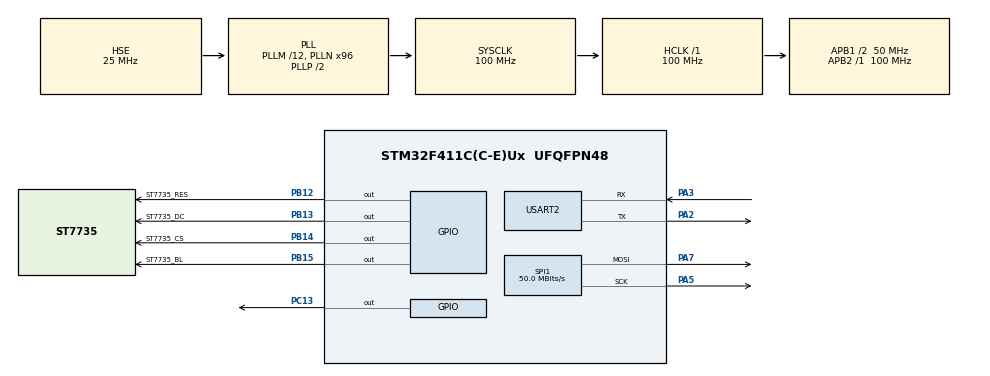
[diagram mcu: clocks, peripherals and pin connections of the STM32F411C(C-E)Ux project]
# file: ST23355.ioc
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Mcu.Family=STM32F4
Mcu.Name=STM32F411C(C-E)Ux
Mcu.Package=UFQFPN48
NVIC.PriorityGroup=NVIC_PRIORITYGROUP_4
PA13.Mode=Serial_Wire
PA13.Signal=SYS_JTMS-SWDIO
PA14.Mode=Serial_Wire
PA14.Signal=SYS_JTCK-SWCLK
PA2.Mode=Asynchronous
PA2.Signal=USART2_TX
PA3.Mode=Asynchronous
PA3.Signal=USART2_RX
PA5.Mode=TX_Only_Simplex_Unidirect_Master
PA5.Signal=SPI1_SCK
PA7.Mode=TX_Only_Simplex_Unidirect_Master
PA7.Signal=SPI1_MOSI
PB12.GPIO_Label=ST7735_RES
PB12.GPIO_ModeDefaultOutputPP=GPIO_MODE_OUTPUT_PP
PB12.GPIO_PuPd=GPIO_PULLDOWN
PB12.GPIO_Speed=GPIO_SPEED_FREQ_LOW
PB12.PinState=GPIO_PIN_RESET
PB12.Signal=GPIO_Output
PB13.GPIO_Label=ST7735_DC
PB13.GPIO_ModeDefaultOutputPP=GPIO_MODE_OUTPUT_PP
PB13.GPIO_PuPd=GPIO_PULLDOWN
PB13.GPIO_Speed=GPIO_SPEED_FREQ_LOW
PB13.PinState=GPIO_PIN_RESET
PB13.Signal=GPIO_Output
PB14.GPIO_Label=ST7735_CS
PB14.GPIO_ModeDefaultOutputPP=GPIO_MODE_OUTPUT_PP
PB14.GPIO_PuPd=GPIO_PULLDOWN
PB14.GPIO_Speed=GPIO_SPEED_FREQ_LOW
PB14.PinState=GPIO_PIN_RESET
PB14.Signal=GPIO_Output
PB15.GPIO_Label=ST7735_BL
PB15.GPIO_ModeDefaultOutputPP=GPIO_MODE_OUTPUT_PP
PB15.GPIO_PuPd=GPIO_PULLDOWN
PB15.GPIO_Speed=GPIO_SPEED_FREQ_LOW
PB15.PinState=GPIO_PIN_RESET
PB15.Signal=GPIO_Output
PC13-ANTI_TAMP.GPIO_ModeDefaultOutputPP=GPIO_MODE_OUTPUT_PP
PC13-ANTI_TAMP.GPIO_PuPd=GPIO_PULLDOWN
PC13-ANTI_TAMP.GPIO_Speed=GPIO_SPEED_FREQ_LOW
PC13-ANTI_TAMP.PinState=GPIO_PIN_RESET
PC13-ANTI_TAMP.Signal=GPIO_Output
PC14-OSC32_IN.Mode=LSE-External-Oscillator
PC14-OSC32_IN.Signal=RCC_OSC32_IN
PC15-OSC32_OUT.Mode=LSE-External-Oscillator
PC15-OSC32_OUT.Signal=RCC_OSC32_OUT
PH0\ -\ OSC_IN.Mode=HSE-External-Oscillator
PH0\ -\ OSC_IN.Signal=RCC_OSC_IN
PH1\ -\ OSC_OUT.Mode=HSE-External-Oscillator
PH1\ -\ OSC_OUT.Signal=RCC_OSC_OUT
ProjectManager.HeapSize=0x200
ProjectManager.StackSize=0x400
ProjectManager.TargetToolchain=CMake
RCC.48MHZClocksFreq_Value=50000000
RCC.AHBFreq_Value=100000000
RCC.APB1CLKDivider=RCC_HCLK_DIV2
RCC.APB1Freq_Value=50000000
RCC.APB1TimFreq_Value=100000000
RCC.APB2Freq_Value=100000000
RCC.APB2TimFreq_Value=100000000
RCC.CortexFreq_Value=100000000
RCC.HCLKFreq_Value=100000000
RCC.HSE_VALUE=25000000
RCC.HSI_VALUE=16000000
RCC.PLLM=12
RCC.PLLN=96
RCC.PLLSourceVirtual=RCC_PLLSOURCE_HSE
RCC.SYSCLKFreq_VALUE=100000000
RCC.SYSCLKSource=RCC_SYSCLKSOURCE_PLLCLK
RCC.VCOOutputFreq_Value=200000000
SPI1.BaudRatePrescaler=SPI_BAUDRATEPRESCALER_2
SPI1.CalculateBaudRate=50.0 MBits/s
SPI1.DataSize=SPI_DATASIZE_8BIT
SPI1.Direction=SPI_DIRECTION_2LINES
SPI1.Mode=SPI_MODE_MASTER
SPI1.VirtualType=VM_MASTER
STMicroelectronics.X-CUBE-TOUCHGFX.4.25.0.tgfx_buffering_strategy=Partial
STMicroelectronics.X-CUBE-TOUCHGFX.4.25.0.tgfx_custom_height=160
STMicroelectronics.X-CUBE-TOUCHGFX.4.25.0.tgfx_custom_width=128
STMicroelectronics.X-CUBE-TOUCHGFX.4.25.0_IsPackSelfContextualization=true
USART2.VirtualMode=VM_ASYNC
VP_CRC_VS_CRC.Mode=CRC_Activate
VP_RTC_VS_RTC_Activate.Mode=RTC_Enabled
VP_RTC_VS_RTC_WakeUp_intern.Mode=WakeUp
board=custom

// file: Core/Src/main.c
/* USER CODE BEGIN Header */
/**
  ******************************************************************************
  * @file           : main.c
  * @brief          : Main program body
  ******************************************************************************
  * @attention
  *
  * Copyright (c) 2025 STMicroelectronics.
  * All rights reserved.
  *
  * This software is licensed under terms that can be found in the LICENSE file
  * in the root directory of this software component.
  * If no LICENSE file comes with this software, it is provided AS-IS.
  *
  ******************************************************************************
  */
/* USER CODE END Header */
#include "main.h"

/* USER CODE BEGIN Includes */
#include "st7735.h"
#include "fonts.h"
#include "testimg.h"
#include <stm32f4xx_hal_rcc.h>
#include <stm32f4xx_hal_uart.h>
#include <stdio.h>
/* USER CODE END Includes */

CRC_HandleTypeDef hcrc;

RTC_HandleTypeDef hrtc;

SPI_HandleTypeDef hspi1;

UART_HandleTypeDef huart2;

void SystemClock_Config(void);
static void MX_GPIO_Init(void);
static void MX_SPI1_Init(void);
static void MX_USART2_UART_Init(void);
static void MX_CRC_Init(void);
static void MX_RTC_Init(void);

/* USER CODE BEGIN 0 */
 void demoTFT(void)
{

 ST7735_FillScreen(ST7735_BLACK);

 for(int x = 0; x < ST7735_GetWidth(); x++)
 {
   ST7735_DrawPixel(x, 0, ST7735_WHITE);
   ST7735_DrawPixel(x, ST7735_GetHeight() - 1, ST7735_WHITE);
 }

 for(int y = 0; y < ST7735_GetHeight(); y++)
 {
   ST7735_DrawPixel(0, y, ST7735_WHITE);
   ST7735_DrawPixel(ST7735_GetWidth() - 1, y, ST7735_WHITE);
 }

 ST7735_DrawLine(0, 0, ST7735_GetWidth(), ST7735_GetHeight(), ST7735_WHITE);
 ST7735_DrawLine(ST7735_GetWidth(), 0, 0, ST7735_GetHeight(), ST7735_WHITE);

 HAL_Delay(1000);

 ST7735_FillScreen(ST7735_BLACK);

 for (int i = 0; i < ST7735_GetHeight(); i += 4)
 {
  ST7735_DrawFastHLine(0, i, ST7735_GetWidth() - 1, ST7735_WHITE);
 }

 for (int i = 0; i < ST7735_GetWidth(); i += 4)
 {
  ST7735_DrawFastVLine(i, 0, ST7735_GetHeight() - 1, ST7735_WHITE);
 }

 HAL_Delay(1000);

 // Check fonts
 ST7735_FillScreen(ST7735_BLACK);
 ST7735_DrawString(0, 0, "Font_7x10, red on black, lorem ipsum dolor sit amet", Font_7x10, ST7735_RED, ST7735_BLACK);
 ST7735_DrawString(0, 3*10, "Font_11x18, green, lorem ipsum", Font_11x18, ST7735_GREEN, ST7735_BLACK);
 ST7735_DrawString(0, 3*10+3*18, "Font_16x26", Font_16x26, ST7735_BLUE, ST7735_BLACK);
 HAL_Delay(1000);

 // Check colors
 ST7735_FillScreen(ST7735_BLACK);
 ST7735_DrawString(0, 0, "BLACK", Font_11x18, ST7735_WHITE, ST7735_BLACK);
 HAL_Delay(1000);

 ST7735_FillScreen(ST7735_BLUE);
 ST7735_DrawString(0, 0, "BLUE", Font_11x18, ST7735_BLACK, ST7735_BLUE);
 HAL_Delay(1000);

 ST7735_FillScreen(ST7735_RED);
 ST7735_DrawString(0, 0, "RED", Font_11x18, ST7735_BLACK, ST7735_RED);
 HAL_Delay(1000);

 ST7735_FillScreen(ST7735_GREEN);
 ST7735_DrawString(0, 0, "GREEN", Font_11x18, ST7735_BLACK, ST7735_GREEN);
 HAL_Delay(1000);

 ST7735_FillScreen(ST7735_CYAN);
 ST7735_DrawString(0, 0, "CYAN", Font_11x18, ST7735_BLACK, ST7735_CYAN);
 HAL_Delay(1000);

 ST7735_FillScreen(ST7735_MAGENTA);
 ST7735_DrawString(0, 0, "MAGENTA", Font_11x18, ST7735_BLACK, ST7735_MAGENTA);
 HAL_Delay(1000);

 ST7735_FillScreen(ST7735_YELLOW);
 ST7735_DrawString(0, 0, "YELLOW", Font_11x18, ST7735_BLACK, ST7735_YELLOW);
 HAL_Delay(1000);

 ST7735_FillScreen(ST7735_WHITE);
 ST7735_DrawString(0, 0, "WHITE", Font_11x18, ST7735_BLACK, ST7735_WHITE);
 HAL_Delay(1000);

 // Draw circles
 ST7735_FillScreen(ST7735_BLACK);
 for (int i = 0; i < ST7735_GetHeight() / 2; i += 2)
 {
  ST7735_DrawCircle(ST7735_GetWidth() / 2, ST7735_GetHeight() / 2, i, ST7735_YELLOW);
 }
 HAL_Delay(1000);

 ST7735_FillScreen(ST7735_BLACK);
 ST7735_FillTriangle(0, 0, ST7735_GetWidth() / 2, ST7735_GetHeight(), ST7735_GetWidth(), 0, ST7735_RED);
 HAL_Delay(1000);

 ST7735_FillScreen(ST7735_BLACK);
 ST7735_DrawImage(0, 0, 128, 128, (uint16_t*) test_img_128x128);
 HAL_Delay(1000);

}
/* USER CODE END 0 */

int main(void)
{

  /* MCU Configuration--------------------------------------------------------*/

  /* Reset of all peripherals, Initializes the Flash interface and the Systick. */
  HAL_Init();

  /* Configure the system clock */
  SystemClock_Config();

  /* Initialize all configured peripherals */
  MX_GPIO_Init();
  MX_SPI1_Init();
  MX_USART2_UART_Init();
  MX_CRC_Init();
  MX_RTC_Init();
  /* USER CODE BEGIN 2 */
  ST7735_Init();
  ST7735_Backlight_On();

  int value = 0;
  ST7735_FillScreen(ST7735_BLACK);
  ST7735_DrawString(1, 1, "RUNNING Program...", Font_7x10, ST7735_GREEN, ST7735_BLACK);
  uint8_t TX_data[] = "Hello World\n\r";
  uint8_t TX_buffer[] = "RUNNING: ";
  char buffer[50];

  /* USER CODE END 2 */

    /* Infinite loop */
    /* USER CODE BEGIN WHILE */
    while (1)
    {
      // demoTFT();
      sprintf(buffer, "RUNNING: %d", value);

      HAL_UART_Transmit (&huart2, TX_buffer, sizeof TX_buffer/sizeof TX_buffer[0], 0xffff);

      HAL_UART_Transmit (&huart2, TX_data, sizeof TX_data, 0xffff);

    ST7735_DrawString(1, 20, buffer, Font_7x10, ST7735_GREEN, ST7735_BLACK);

    HAL_GPIO_TogglePin(GPIOC, GPIO_PIN_13);
    HAL_Delay(1);
    HAL_GPIO_WritePin(GPIOC, GPIO_PIN_13, GPIO_PIN_SET);

    HAL_Delay(1000);
value++;
    /* USER CODE END WHILE */

  }
}

void SystemClock_Config(void)
{
  RCC_OscInitTypeDef RCC_OscInitStruct = {0};
  RCC_ClkInitTypeDef RCC_ClkInitStruct = {0};

  /** Configure the main internal regulator output voltage
  */
  __HAL_RCC_PWR_CLK_ENABLE();
  __HAL_PWR_VOLTAGESCALING_CONFIG(PWR_REGULATOR_VOLTAGE_SCALE1);

  /** Initializes the RCC Oscillators according to the specified parameters
  * in the RCC_OscInitTypeDef structure.
  */
  RCC_OscInitStruct.OscillatorType = RCC_OSCILLATORTYPE_LSI|RCC_OSCILLATORTYPE_HSE;
  RCC_OscInitStruct.HSEState = RCC_HSE_ON;
  RCC_OscInitStruct.LSIState = RCC_LSI_ON;
  RCC_OscInitStruct.PLL.PLLState = RCC_PLL_ON;
  RCC_OscInitStruct.PLL.PLLSource = RCC_PLLSOURCE_HSE;
  RCC_OscInitStruct.PLL.PLLM = 12;
  RCC_OscInitStruct.PLL.PLLN = 96;
  RCC_OscInitStruct.PLL.PLLP = RCC_PLLP_DIV2;
  RCC_OscInitStruct.PLL.PLLQ = 4;
  if (HAL_RCC_OscConfig(&RCC_OscInitStruct) != HAL_OK)
  {
    Error_Handler();
  }

  /** Initializes the CPU, AHB and APB buses clocks
  */
  RCC_ClkInitStruct.ClockType = RCC_CLOCKTYPE_HCLK|RCC_CLOCKTYPE_SYSCLK
                              |RCC_CLOCKTYPE_PCLK1|RCC_CLOCKTYPE_PCLK2;
  RCC_ClkInitStruct.SYSCLKSource = RCC_SYSCLKSOURCE_PLLCLK;
  RCC_ClkInitStruct.AHBCLKDivider = RCC_SYSCLK_DIV1;
  RCC_ClkInitStruct.APB1CLKDivider = RCC_HCLK_DIV2;
  RCC_ClkInitStruct.APB2CLKDivider = RCC_HCLK_DIV1;

  if (HAL_RCC_ClockConfig(&RCC_ClkInitStruct, FLASH_LATENCY_3) != HAL_OK)
  {
    Error_Handler();
  }
}

static void MX_CRC_Init(void)
{

  hcrc.Instance = CRC;
  if (HAL_CRC_Init(&hcrc) != HAL_OK)
  {
    Error_Handler();
  }

}

static void MX_RTC_Init(void)
{

  RTC_TimeTypeDef sTime = {0};
  RTC_DateTypeDef sDate = {0};

  /** Initialize RTC Only
  */
  hrtc.Instance = RTC;
  hrtc.Init.HourFormat = RTC_HOURFORMAT_24;
  hrtc.Init.AsynchPrediv = 127;
  hrtc.Init.SynchPrediv = 255;
  hrtc.Init.OutPut = RTC_OUTPUT_DISABLE;
  hrtc.Init.OutPutPolarity = RTC_OUTPUT_POLARITY_HIGH;
  hrtc.Init.OutPutType = RTC_OUTPUT_TYPE_OPENDRAIN;
  if (HAL_RTC_Init(&hrtc) != HAL_OK)
  {
    Error_Handler();
  }

  /** Initialize RTC and set the Time and Date
  */
  sTime.Hours = 0x0;
  sTime.Minutes = 0x0;
  sTime.Seconds = 0x0;
  sTime.DayLightSaving = RTC_DAYLIGHTSAVING_NONE;
  sTime.StoreOperation = RTC_STOREOPERATION_RESET;
  if (HAL_RTC_SetTime(&hrtc, &sTime, RTC_FORMAT_BCD) != HAL_OK)
  {
    Error_Handler();
  }
  sDate.WeekDay = RTC_WEEKDAY_MONDAY;
  sDate.Month = RTC_MONTH_JANUARY;
  sDate.Date = 0x1;
  sDate.Year = 0x0;

  if (HAL_RTC_SetDate(&hrtc, &sDate, RTC_FORMAT_BCD) != HAL_OK)
  {
    Error_Handler();
  }

  /** Enable the WakeUp
  */
  if (HAL_RTCEx_SetWakeUpTimer(&hrtc, 0, RTC_WAKEUPCLOCK_RTCCLK_DIV16) != HAL_OK)
  {
    Error_Handler();
  }

}

static void MX_SPI1_Init(void)
{

  /* SPI1 parameter configuration*/
  hspi1.Instance = SPI1;
  hspi1.Init.Mode = SPI_MODE_MASTER;
  hspi1.Init.Direction = SPI_DIRECTION_2LINES;
  hspi1.Init.DataSize = SPI_DATASIZE_8BIT;
  hspi1.Init.CLKPolarity = SPI_POLARITY_LOW;
  hspi1.Init.CLKPhase = SPI_PHASE_1EDGE;
  hspi1.Init.NSS = SPI_NSS_SOFT;
  hspi1.Init.BaudRatePrescaler = SPI_BAUDRATEPRESCALER_2;
  hspi1.Init.FirstBit = SPI_FIRSTBIT_MSB;
  hspi1.Init.TIMode = SPI_TIMODE_DISABLE;
  hspi1.Init.CRCCalculation = SPI_CRCCALCULATION_DISABLE;
  hspi1.Init.CRCPolynomial = 10;
  if (HAL_SPI_Init(&hspi1) != HAL_OK)
  {
    Error_Handler();
  }

}

static void MX_USART2_UART_Init(void)
{

  huart2.Instance = USART2;
  huart2.Init.BaudRate = 115200;
  huart2.Init.WordLength = UART_WORDLENGTH_8B;
  huart2.Init.StopBits = UART_STOPBITS_1;
  huart2.Init.Parity = UART_PARITY_NONE;
  huart2.Init.Mode = UART_MODE_TX_RX;
  huart2.Init.HwFlowCtl = UART_HWCONTROL_NONE;
  huart2.Init.OverSampling = UART_OVERSAMPLING_16;
  if (HAL_UART_Init(&huart2) != HAL_OK)
  {
    Error_Handler();
  }

}

static void MX_GPIO_Init(void)
{
  GPIO_InitTypeDef GPIO_InitStruct = {0};

  /* GPIO Ports Clock Enable */
  __HAL_RCC_GPIOC_CLK_ENABLE();
  __HAL_RCC_GPIOH_CLK_ENABLE();
  __HAL_RCC_GPIOA_CLK_ENABLE();
  __HAL_RCC_GPIOB_CLK_ENABLE();

  /*Configure GPIO pin Output Level */
  HAL_GPIO_WritePin(GPIOC, GPIO_PIN_13, GPIO_PIN_RESET);

  /*Configure GPIO pin Output Level */
  HAL_GPIO_WritePin(GPIOB, ST7735_RES_Pin|ST7735_DC_Pin|ST7735_CS_Pin|ST7735_BL_Pin, GPIO_PIN_RESET);

  /*Configure GPIO pin : PC13 */
  GPIO_InitStruct.Pin = GPIO_PIN_13;
  GPIO_InitStruct.Mode = GPIO_MODE_OUTPUT_PP;
  GPIO_InitStruct.Pull = GPIO_PULLDOWN;
  GPIO_InitStruct.Speed = GPIO_SPEED_FREQ_LOW;
  HAL_GPIO_Init(GPIOC, &GPIO_InitStruct);

  /*Configure GPIO pins : ST7735_RES_Pin ST7735_DC_Pin ST7735_CS_Pin ST7735_BL_Pin */
  GPIO_InitStruct.Pin = ST7735_RES_Pin|ST7735_DC_Pin|ST7735_CS_Pin|ST7735_BL_Pin;
  GPIO_InitStruct.Mode = GPIO_MODE_OUTPUT_PP;
  GPIO_InitStruct.Pull = GPIO_PULLDOWN;
  GPIO_InitStruct.Speed = GPIO_SPEED_FREQ_LOW;
  HAL_GPIO_Init(GPIOB, &GPIO_InitStruct);

}

void Error_Handler(void)
{
  __disable_irq();
  while (1)
  {
  }
}
